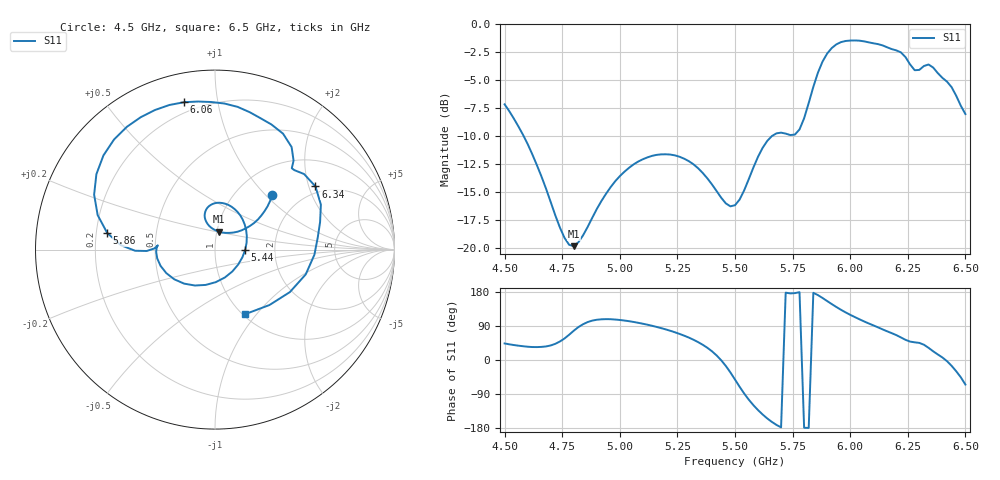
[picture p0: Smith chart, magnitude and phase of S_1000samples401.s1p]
! TOUCHSTONE file generated by CST MICROWAVE STUDIO
! Date and time: Fri Oct 28 01:15:09 2022
! Project name: L.cst
! Parameters = {Di=1.27; Epsilon_r=1.56; InnerDiameter=1.27; Length=2; Lf=10; Lg=60; OuterConductorThickness=0.2921; OuterDiameter=3.6; Wf=3; Wp=41.2; de=1.5; df=6.8; g=0.8; gx=1.05316; gy=1.78111; h=2.34; hf=1.524; px=12.5451; py=8.73267; w=9.7; wx=11.4919; wy=6.95156}
! Header version: 2018
! Port assignment regex: !\s*Touchstone port\s*([0-9]+)\s*=\s*(CST MWS port|CST DS port)\s*([0-9]+|Zmin|Zmax)\s*\(\"(.*)\"\)(\s*mode\s*([0-9]+))?.*
! Touchstone port assignment:
! Touchstone port 1 = CST MWS port 1 ("")
# GHz S DB R 50
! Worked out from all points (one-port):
!   101 points, 4.5 GHz to 6.5 GHz, reference 50 ohm
!   lowest |S11| = -19.8 dB at 4.8 GHz (marker M1), VSWR 1.23, Z = 51.3 + j10.3 ohm
!   |S11| at or under -10 dB: 4.583 GHz to 5.659 GHz (1.076 GHz wide, 21 % of centre)
!   S11 on the Smith chart (normalised r, x): 4.5 GHz: 1.45, +1.09; 5.44 GHz: 1.40, -0.01; 5.86 GHz: 0.25, +0.07; 6.06 GHz: 0.14, +0.80; 6.34 GHz: 1.77, +2.22; 6.5 GHz: 1.03, -0.88
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4.5  -7.15 43.7
4.62  -11.61 34.2
4.76  -19.08 56.8
4.8  -19.82 77.2
5  -13.57 105.6
5.14  -11.76 90.3
5.26  -11.84 68.7
5.34  -12.86 47.2
5.44  -15.49 -0.6
5.5  -16.16 -51.5
5.58  -12.79 -119.3
5.64  -10.42 -154.2
5.72  -9.77 177.7
5.76  -9.86 176.5
5.82  -7.03 -179.2
5.86  -4.32 171.2
5.92  -2.12 147.5
5.96  -1.59 132.5
6  -1.46 119.3
6.06  -1.52 101.9
6.16  -2.05 75.8
6.22  -2.51 59.6
6.26  -3.59 48.6
6.3  -4.08 45.1
6.34  -3.59 32.1
6.38  -4.36 14.7
6.44  -5.61 -15.3
6.5  -8.02 -64.8
